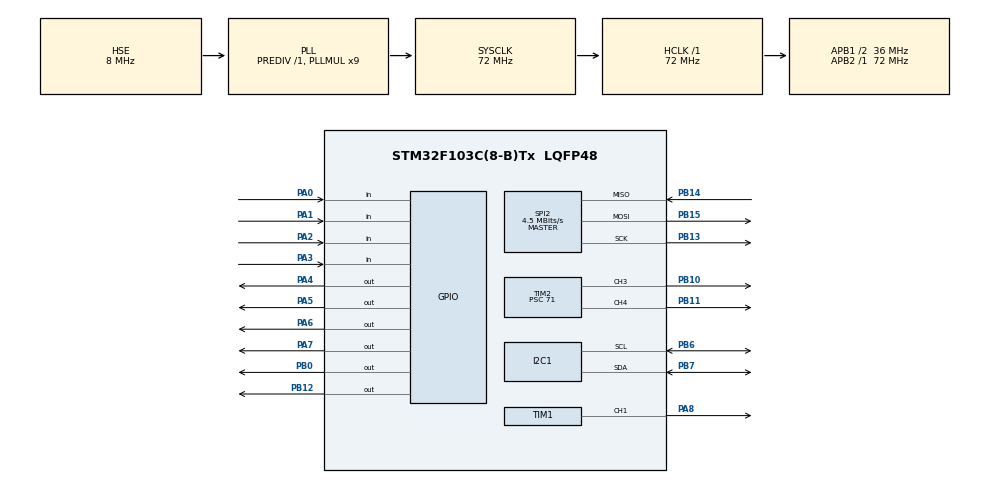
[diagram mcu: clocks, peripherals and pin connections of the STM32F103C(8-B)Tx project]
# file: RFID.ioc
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Mcu.Family=STM32F1
Mcu.Name=STM32F103C(8-B)Tx
Mcu.Package=LQFP48
NVIC.PriorityGroup=NVIC_PRIORITYGROUP_4
PA0-WKUP.GPIO_PuPd=GPIO_PULLDOWN
PA0-WKUP.Signal=GPIO_Input
PA1.GPIO_PuPd=GPIO_PULLDOWN
PA1.Signal=GPIO_Input
PA13.Mode=Serial_Wire
PA13.Signal=SYS_JTMS-SWDIO
PA14.Mode=Serial_Wire
PA14.Signal=SYS_JTCK-SWCLK
PA2.GPIO_PuPd=GPIO_PULLDOWN
PA2.Signal=GPIO_Input
PA3.GPIO_PuPd=GPIO_PULLDOWN
PA3.Signal=GPIO_Input
PA4.Signal=GPIO_Output
PA5.Signal=GPIO_Output
PA6.Signal=GPIO_Output
PA7.Signal=GPIO_Output
PA8.Signal=S_TIM1_CH1
PB0.Signal=GPIO_Output
PB10.Signal=S_TIM2_CH3
PB11.Signal=S_TIM2_CH4
PB12.GPIO_PuPd=GPIO_PULLUP
PB12.PinState=GPIO_PIN_RESET
PB12.Signal=GPIO_Output
PB13.Mode=Full_Duplex_Master
PB13.Signal=SPI2_SCK
PB14.Mode=Full_Duplex_Master
PB14.Signal=SPI2_MISO
PB15.Mode=Full_Duplex_Master
PB15.Signal=SPI2_MOSI
PB6.Mode=I2C
PB6.Signal=I2C1_SCL
PB7.Mode=I2C
PB7.Signal=I2C1_SDA
PD0-OSC_IN.Mode=HSE-External-Oscillator
PD0-OSC_IN.Signal=RCC_OSC_IN
PD1-OSC_OUT.Mode=HSE-External-Oscillator
PD1-OSC_OUT.Signal=RCC_OSC_OUT
ProjectManager.HeapSize=0x200
ProjectManager.StackSize=0x400
ProjectManager.TargetToolchain=STM32CubeIDE
RCC.AHBFreq_Value=72000000
RCC.APB1CLKDivider=RCC_HCLK_DIV2
RCC.APB1Freq_Value=36000000
RCC.APB1TimFreq_Value=72000000
RCC.APB2Freq_Value=72000000
RCC.APB2TimFreq_Value=72000000
RCC.HCLKFreq_Value=72000000
RCC.PLLMUL=RCC_PLL_MUL9
RCC.PLLSourceVirtual=RCC_PLLSOURCE_HSE
RCC.SYSCLKFreq_VALUE=72000000
RCC.SYSCLKSource=RCC_SYSCLKSOURCE_PLLCLK
RCC.USBFreq_Value=72000000
SH.S_TIM1_CH1.0=TIM1_CH1,PWM Generation1 CH1
SH.S_TIM2_CH3.0=TIM2_CH3,PWM Generation3 CH3
SH.S_TIM2_CH4.0=TIM2_CH4,PWM Generation4 CH4
SPI2.BaudRatePrescaler=SPI_BAUDRATEPRESCALER_8
SPI2.CalculateBaudRate=4.5 MBits/s
SPI2.Direction=SPI_DIRECTION_2LINES
SPI2.Mode=SPI_MODE_MASTER
SPI2.VirtualType=VM_MASTER
TIM1.AutoReloadPreload=TIM_AUTORELOAD_PRELOAD_ENABLE
TIM1.Channel-PWM\ Generation1\ CH1=TIM_CHANNEL_1
TIM1.OCIdleState_1=TIM_OCIDLESTATE_SET
TIM1.Prescaler=0
TIM2.AutoReloadPreload=TIM_AUTORELOAD_PRELOAD_ENABLE
TIM2.Channel-PWM\ Generation3\ CH3=TIM_CHANNEL_3
TIM2.Channel-PWM\ Generation4\ CH4=TIM_CHANNEL_4
TIM2.Prescaler=71
VP_TIM1_VS_ClockSourceINT.Mode=Internal
VP_TIM2_VS_ClockSourceINT.Mode=Internal
board=custom

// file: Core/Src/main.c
/* USER CODE BEGIN Header */
/**
  ******************************************************************************
  * @file           : main.c
  * @brief          : Main program body
  ******************************************************************************
  * @attention
  *
  * Copyright (c) 2025 STMicroelectronics.
  * All rights reserved.
  *
  * This software is licensed under terms that can be found in the LICENSE file
  * in the root directory of this software component.
  * If no LICENSE file comes with this software, it is provided AS-IS.
  *
  ******************************************************************************
  */
/* USER CODE END Header */
#include "main.h"

/* USER CODE BEGIN Includes */
#include "KEYPAD.h"
#include "I2C_LCD.h"
#include "string.h"
#include "SERVO.h"
#include "rc522.h"
/* USER CODE END Includes */

/* USER CODE BEGIN PD */
#define MyI2C_LCD I2C_LCD_1
#define SERVO_Motor1    0
#define KEY_1       0
#define KEY_2       1
#define KEY_3       2
#define KEY_F1      3
#define KEY_4       4
#define KEY_5       5
#define KEY_6       6
#define KEY_F2      7
#define KEY_7       8
#define KEY_8       9
#define KEY_9       10
#define KEY_F3      11
#define KEY_A       12
#define KEY_0       13
#define KEY_H       14
#define KEY_F4      15
#define MAX_SLAVE_CARDS 5 // Maximum number of slave cards
/* USER CODE END PD */

I2C_HandleTypeDef hi2c1;

SPI_HandleTypeDef hspi2;

TIM_HandleTypeDef htim1;
TIM_HandleTypeDef htim2;

/* USER CODE BEGIN PV */
uint32_t OctaveFour[7] = {262, 294, 330, 349, 392, 440, 493}; // Ocatve_4 Frequencies (C4->B4)
uint8_t NoteIndex = 0;
uint8_t gu8_KeyStatesArr[KEYS] = {0};
uint8_t SysTicks = 0;
int RightPassword[6]= {2, 4, 0, 8, 2, 0};
int Password[6]={};
int c = 2;
int i = 0;
int k = 0;
int a = 0;
int d = 0;
int b = 0;
// RFID variables
static uchar masterCard[4] = {0xE9, 0x11, 0x0B, 0x01}; // Replace with your master card UID
static uchar slaveCards[MAX_SLAVE_CARDS][4] = {
    {0x62, 0x99, 0x18, 0x02}, // Replace with your slave card UIDs
    {0xE9, 0x11, 0x0B, 0x01}
};
static uint8_t numSlaveCards = 2; // Current number of slave cards
static uint8_t addCardMode = 0; // Flag for add card mode
static uint8_t masterAuthenticated = 0; // Flag for master card authentication
/* USER CODE END PV */

void SystemClock_Config(void);
static void MX_GPIO_Init(void);
static void MX_I2C1_Init(void);
static void MX_TIM1_Init(void);
static void MX_TIM2_Init(void);
static void MX_SPI2_Init(void);
/* USER CODE BEGIN PFP */
static void Tone(uint32_t Frequency, uint32_t Duration);
static void noTone();
static void Password_Check(void);
static void Notifications(void);
static void Set_Password(void);
static void Display_Handler(void);
static uchar CompareUID(uchar *scannedUID, uchar *storedUID);
static uchar IsSlaveCard(uchar *scannedUID);
static void AddSlaveCard(uchar *newUID);
static void RFID_ProcessCard(void);
/* USER CODE END PFP */

/* USER CODE BEGIN 0 */
void Password_Check(void)
{
    if(i == 6){
        for(i = 0; i<6; i++)
        {
            if(Password[i] != RightPassword[i])
            {
                c = 0;
                break;
            } else {
                c = 1;
            }
        }
    }
}

void Notifications(void)
{
    if(c == 1)
    {
        if( b == 0){
            SERVO_MoveTo(SERVO_Motor1, 0);
            SERVO_MoveTo(SERVO_Motor1, 90);
        }
        I2C_LCD_Clear(MyI2C_LCD);
        I2C_LCD_WriteString(MyI2C_LCD,"Welcome");
        Tone(659, 167); // D5
        Tone(587, 167); // E5
        Tone(370, 333); // F#5
        Tone(415, 333); // G5
        Tone(554, 167);
        Tone(494, 167);
        Tone(294, 333);
        Tone(330, 333);
        Tone(494, 167);
        Tone(440, 167);
        Tone(277, 333);
        Tone(330, 333);
        Tone(440, 667);
        noTone();
        if(b==0){
            SERVO_MoveTo(SERVO_Motor1, 0);
        }
        HAL_Delay(1500);
        NoteIndex = 0;
        i=0;
        c=2;
        k=0;
        memset(Password, 0, sizeof(Password));
        if (b == 1){
            d = 1;
        }
        else if (b == 0){}
        main();
    }
    else if (c == 0)
    {
        I2C_LCD_Clear(MyI2C_LCD);
        I2C_LCD_WriteString(MyI2C_LCD, "Sai Mat Khau");
        Tone(OctaveFour[NoteIndex++], 250);
        if(NoteIndex == 5){
            NoteIndex = 0;
        }
        noTone();
        HAL_Delay(1500);
        i=0;
        c=2;
        memset(Password, 0, sizeof(Password));
        k++;
        b = 0;
        if(k == 5)
        {
            I2C_LCD_Clear(MyI2C_LCD);
            I2C_LCD_WriteString(MyI2C_LCD, "Thu Lai Sau 30s");
            k = 0;
            HAL_Delay(10000);
            HAL_Delay(10000);
            HAL_Delay(10000);
            main();
        }
        main();
    }
}

void Set_Password(void)
{
    if(gu8_KeyStatesArr[KEY_1] == KEY_PRESSED)
    {
        I2C_LCD_WriteChar(MyI2C_LCD,'1');
        HAL_Delay(10);
        RightPassword[a] = 1;
        a++;
    }
    if(gu8_KeyStatesArr[KEY_2] == KEY_PRESSED)
    {
        I2C_LCD_WriteChar(MyI2C_LCD,'2');
        HAL_Delay(10);
        RightPassword[a] = 2;
        a++;
    }
    if(gu8_KeyStatesArr[KEY_3] == KEY_PRESSED)
    {
        I2C_LCD_WriteChar(MyI2C_LCD,'3');
        RightPassword[a] = 3;
        a++;
    }
    if(gu8_KeyStatesArr[KEY_4] == KEY_PRESSED)
    {
        I2C_LCD_WriteChar(MyI2C_LCD,'4');
        RightPassword[a] = 4;
        a++;
    }
    if(gu8_KeyStatesArr[KEY_5] == KEY_PRESSED)
    {
        I2C_LCD_WriteChar(MyI2C_LCD,'5');
        RightPassword[a] = 5;
        a++;
    }
    if(gu8_KeyStatesArr[KEY_6] == KEY_PRESSED)
    {
        I2C_LCD_WriteChar(MyI2C_LCD,'6');
        RightPassword[a] = 6;
        a++;
    }
    if(gu8_KeyStatesArr[KEY_7] == KEY_PRESSED)
    {
        I2C_LCD_WriteChar(MyI2C_LCD,'7');
        RightPassword[a] =7;
        a++;
    }
    if(gu8_KeyStatesArr[KEY_8] == KEY_PRESSED)
    {
        I2C_LCD_WriteChar(MyI2C_LCD,'8');
        RightPassword[a] = 8;
        a++;
    }
    if(gu8_KeyStatesArr[KEY_9] == KEY_PRESSED)
    {
        I2C_LCD_WriteChar(MyI2C_LCD,'9');
        RightPassword[a] = 9;
        a++;
    }
    if(gu8_KeyStatesArr[KEY_0] == KEY_PRESSED)
    {
        I2C_LCD_WriteChar(MyI2C_LCD,'0');
        RightPassword[a] = 0;
        a++;
    }
    if(a == 6)
    {
        a = 0;
        d = 0;
        b = 0;
        I2C_LCD_Clear(MyI2C_LCD);
        I2C_LCD_WriteString(MyI2C_LCD,"Doi thanh cong");
        HAL_Delay(1000);
        main();
    }
}

void Display_Handler(void)
{
    if(gu8_KeyStatesArr[KEY_1] == KEY_PRESSED)
    {
        HAL_Delay(100);
        I2C_LCD_WriteChar(MyI2C_LCD,'1');
        Password[i] = 1;
        i++;
    }
    if(gu8_KeyStatesArr[KEY_2] == KEY_PRESSED)
    {
        HAL_Delay(100);
        I2C_LCD_WriteChar(MyI2C_LCD,'2');
        Password[i] = 2;
        i++;
    }
    if(gu8_KeyStatesArr[KEY_3] == KEY_PRESSED)
    {
        HAL_Delay(100);
        I2C_LCD_WriteChar(MyI2C_LCD,'3');
        Password[i] = 3;
        i++;
    }
    if(gu8_KeyStatesArr[KEY_4] == KEY_PRESSED)
    {
        HAL_Delay(100);
        I2C_LCD_WriteChar(MyI2C_LCD,'4');
        Password[i] = 4;
        i++;
    }
    if(gu8_KeyStatesArr[KEY_5] == KEY_PRESSED)
    {
        HAL_Delay(100);
        I2C_LCD_WriteChar(MyI2C_LCD,'5');
        Password [i] = 5;
        i++;
    }
    if(gu8_KeyStatesArr[KEY_6] == KEY_PRESSED)
    {
        HAL_Delay(100);
        I2C_LCD_WriteChar(MyI2C_LCD,'6');
        Password [i] = 6;
        i++;
    }
    if(gu8_KeyStatesArr[KEY_7] == KEY_PRESSED)
    {
        HAL_Delay(100);
        I2C_LCD_WriteChar(MyI2C_LCD,'7');
        Password [i] =7;
        i++;
    }
    if(gu8_KeyStatesArr[KEY_8] == KEY_PRESSED)
    {
        HAL_Delay(100);
        I2C_LCD_WriteChar(MyI2C_LCD,'8');
        Password [i] = 8;
        i++;
    }
    if(gu8_KeyStatesArr[KEY_9] == KEY_PRESSED)
    {
        HAL_Delay(100);
        I2C_LCD_WriteChar(MyI2C_LCD,'9');
        Password [i] = 9;
        i++;
    }
    if(gu8_KeyStatesArr[KEY_0] == KEY_PRESSED)
    {
        HAL_Delay(100);
        I2C_LCD_WriteChar(MyI2C_LCD,'0');
        Password [i] = 0;
        i++;
    }
    if(gu8_KeyStatesArr[KEY_F4] == KEY_PRESSED)
    {
        I2C_LCD_Clear(MyI2C_LCD);
        memset(Password, 0, i*sizeof(Password));
        i = 0;
        b = 0;
        HAL_Delay(100);
        main();
    }
}

static uchar CompareUID(uchar *scannedUID, uchar *storedUID)
{
    for (uchar i = 0; i < 4; i++)
    {
        if (scannedUID[i] != storedUID[i])
        {
            return 0;
        }
    }
    return 1;
}

static uchar IsSlaveCard(uchar *scannedUID)
{
    for (uint8_t i = 0; i < numSlaveCards; i++)
    {
        if (CompareUID(scannedUID, slaveCards[i]))
        {
            return 1;
        }
    }
    return 0;
}

static void AddSlaveCard(uchar *newUID)
{
    if (numSlaveCards < MAX_SLAVE_CARDS)
    {
        for (uint8_t i = 0; i < 4; i++)
        {
            slaveCards[numSlaveCards][i] = newUID[i];
        }
        numSlaveCards++;
        I2C_LCD_Clear(MyI2C_LCD);
        I2C_LCD_WriteString(MyI2C_LCD, "Them Thanh Cong");
        Tone(659, 200); // E5
        Tone(784, 200); // G5
        noTone();
        HAL_Delay(1000);
    }
    else
    {
        I2C_LCD_Clear(MyI2C_LCD);
        I2C_LCD_WriteString(MyI2C_LCD, "Danh Sach Day");
        Tone(392, 500); // G4
        noTone();
        HAL_Delay(1000);
    }
}

static void RFID_ProcessCard(void)
{
    uchar status;
    uchar tagType[2];
    uchar serNum[5];

    if (addCardMode)
    {
        // Step 1: Prompt for master card
        if (!masterAuthenticated)
        {
            I2C_LCD_Clear(MyI2C_LCD);
            I2C_LCD_WriteString(MyI2C_LCD, "Quet Master Card");
            status = MFRC522_Request(PICC_REQIDL, tagType);
            if (status == MI_OK)
            {
                status = MFRC522_Anticoll(serNum);
                if (status == MI_OK)
                {
                    if (CompareUID(serNum, masterCard))
                    {
                        masterAuthenticated = 1;
                        I2C_LCD_Clear(MyI2C_LCD);
                        I2C_LCD_WriteString(MyI2C_LCD, "Quet The Moi");
                        Tone(523, 200); // C5
                        noTone();
                        HAL_Delay(200);
                    }
                    else
                    {
                        I2C_LCD_Clear(MyI2C_LCD);
                        I2C_LCD_WriteString(MyI2C_LCD, "Sai Master Card");
                        Tone(392, 500); // G4
                        noTone();
                        HAL_Delay(1000);
                        I2C_LCD_Clear(MyI2C_LCD);
                        I2C_LCD_WriteString(MyI2C_LCD, "Quet Master Card");
                    }
                    MFRC522_Halt();
                }
            }
        }
        // Step 2: Add new slave card
        else
        {
            status = MFRC522_Request(PICC_REQIDL, tagType);
            if (status == MI_OK)
            {
                status = MFRC522_Anticoll(serNum);
                if (status == MI_OK)
                {
                    // Check if card is not already a slave card
                    if (!IsSlaveCard(serNum) && !CompareUID(serNum, masterCard))
                    {
                        AddSlaveCard(serNum);
                    }
                    else
                    {
                        I2C_LCD_Clear(MyI2C_LCD);
                        I2C_LCD_WriteString(MyI2C_LCD, "The Da Ton Tai");
                        Tone(392, 500); // G4
                        noTone();
                        HAL_Delay(1000);
                    }
                    // Exit add card mode
                    addCardMode = 0;
                    masterAuthenticated = 0;
                    I2C_LCD_Clear(MyI2C_LCD);
                    I2C_LCD_WriteString(MyI2C_LCD, "Nhap mat khau:");
                    I2C_LCD_SetCursor(MyI2C_LCD, 1, 1);
                    MFRC522_Halt();
                }
            }
        }
    }
    else
    {
        // Normal mode: Check for slave cards
        status = MFRC522_Request(PICC_REQIDL, tagType);
        if (status == MI_OK)
        {
            status = MFRC522_Anticoll(serNum);
            if (status == MI_OK)
            {
                if (IsSlaveCard(serNum))
                {
                    I2C_LCD_Clear(MyI2C_LCD);
                    I2C_LCD_WriteString(MyI2C_LCD, "Welcome");
                    SERVO_MoveTo(SERVO_Motor1, 90);
                    Tone(659, 200); // E5
                    Tone(784, 200); // G5
                    noTone();
                    HAL_Delay(1500);
                    SERVO_MoveTo(SERVO_Motor1, 0);
                    I2C_LCD_Clear(MyI2C_LCD);
                    I2C_LCD_WriteString(MyI2C_LCD, "Nhap mat khau:");
                    I2C_LCD_SetCursor(MyI2C_LCD, 1, 1);
                }
                else
                {
                    I2C_LCD_Clear(MyI2C_LCD);
                    I2C_LCD_WriteString(MyI2C_LCD, "Sai The");
                    Tone(392, 500); // G4
                    noTone();
                    HAL_Delay(1000);
                    I2C_LCD_Clear(MyI2C_LCD);
                    I2C_LCD_WriteString(MyI2C_LCD, "Nhap mat khau:");
                    I2C_LCD_SetCursor(MyI2C_LCD, 1, 1);
                }
                MFRC522_Halt();
            }
        }
    }
}

static void Tone(uint32_t Frequency, uint32_t Duration)
{
    TIM2->ARR = (1000000UL / Frequency) - 1; // Set The PWM Frequency
    TIM2->CCR3 = (TIM2->ARR >> 1); // Set Duty Cycle 50%
    HAL_Delay(Duration); // Wait For The Tone Duration
}

static void noTone()
{
    TIM2->CCR3 = 0; // Set Duty Cycle 0%
}
/* USER CODE END 0 */

int main(void)
{

  /* MCU Configuration--------------------------------------------------------*/

  /* Reset of all peripherals, Initializes the Flash interface and the Systick. */
  HAL_Init();

  /* Configure the system clock */
  SystemClock_Config();

  /* Initialize all configured peripherals */
  MX_GPIO_Init();
  MX_I2C1_Init();
  MX_TIM1_Init();
  MX_TIM2_Init();
  MX_SPI2_Init();
  /* USER CODE BEGIN 2 */
    HAL_TIM_PWM_Start(&htim2, TIM_CHANNEL_3);
    HAL_TIM_PWM_Start(&htim1, TIM_CHANNEL_1);
    SERVO_Init(SERVO_Motor1);
    I2C_LCD_Init(MyI2C_LCD);
    I2C_LCD_Clear(MyI2C_LCD);
    I2C_LCD_SetCursor(MyI2C_LCD, 0, 0);
    if (d == 0){
        I2C_LCD_Backlight(MyI2C_LCD);
        I2C_LCD_Display(MyI2C_LCD);
        I2C_LCD_WriteString(MyI2C_LCD, "Nhap mat khau:");
    }
    if (d == 1){
        I2C_LCD_WriteString(MyI2C_LCD, "Mat khau moi:");
    }
    I2C_LCD_SetCursor(MyI2C_LCD, 1, 1);
    KEYPAD_Init(0, gu8_KeyStatesArr);
    MFRC522_Init(); // Initialize RFID module
  /* USER CODE END 2 */

  /* Infinite loop */
  /* USER CODE BEGIN WHILE */
    while (1)
    {
        if(gu8_KeyStatesArr[KEY_F1] == KEY_PRESSED)
        {
            if(gu8_KeyStatesArr[KEY_F2] == KEY_PRESSED){
                b = 1;
                memset(Password, 0, i*sizeof(Password));
                I2C_LCD_Clear(MyI2C_LCD);
                I2C_LCD_WriteString(MyI2C_LCD, "Mat khau cu:");
                I2C_LCD_SetCursor(MyI2C_LCD, 1, 1);
                HAL_Delay(200); // Debounce
            }
        }
        if(gu8_KeyStatesArr[KEY_F3] == KEY_PRESSED)
        {
            addCardMode = 1;
            masterAuthenticated = 0;
            I2C_LCD_Clear(MyI2C_LCD);
            I2C_LCD_WriteString(MyI2C_LCD, "Quet Master Card");
            HAL_Delay(200); // Debounce

        }

        KEYPAD_Scan(0);
        HAL_Delay(10);
        if (d == 0 && !addCardMode){
            Display_Handler();
            HAL_Delay(10);
            Password_Check();
            Notifications();
        }
        if (d == 1)
        {
            Set_Password();
            HAL_Delay(100);
        }
        RFID_ProcessCard(); // Process RFID cards
    /* USER CODE END WHILE */

    }
}

void SystemClock_Config(void)
{
  RCC_OscInitTypeDef RCC_OscInitStruct = {0};
  RCC_ClkInitTypeDef RCC_ClkInitStruct = {0};

  /** Initializes the RCC Oscillators according to the specified parameters
  * in the RCC_OscInitTypeDef structure.
  */
  RCC_OscInitStruct.OscillatorType = RCC_OSCILLATORTYPE_HSE;
  RCC_OscInitStruct.HSEState = RCC_HSE_ON;
  RCC_OscInitStruct.HSEPredivValue = RCC_HSE_PREDIV_DIV1;
  RCC_OscInitStruct.HSIState = RCC_HSI_ON;
  RCC_OscInitStruct.PLL.PLLState = RCC_PLL_ON;
  RCC_OscInitStruct.PLL.PLLSource = RCC_PLLSOURCE_HSE;
  RCC_OscInitStruct.PLL.PLLMUL = RCC_PLL_MUL9;
  if (HAL_RCC_OscConfig(&RCC_OscInitStruct) != HAL_OK)
  {
    Error_Handler();
  }

  /** Initializes the CPU, AHB and APB buses clocks
  */
  RCC_ClkInitStruct.ClockType = RCC_CLOCKTYPE_HCLK|RCC_CLOCKTYPE_SYSCLK
                              |RCC_CLOCKTYPE_PCLK1|RCC_CLOCKTYPE_PCLK2;
  RCC_ClkInitStruct.SYSCLKSource = RCC_SYSCLKSOURCE_PLLCLK;
  RCC_ClkInitStruct.AHBCLKDivider = RCC_SYSCLK_DIV1;
  RCC_ClkInitStruct.APB1CLKDivider = RCC_HCLK_DIV2;
  RCC_ClkInitStruct.APB2CLKDivider = RCC_HCLK_DIV1;

  if (HAL_RCC_ClockConfig(&RCC_ClkInitStruct, FLASH_LATENCY_2) != HAL_OK)
  {
    Error_Handler();
  }
}

static void MX_I2C1_Init(void)
{

  hi2c1.Instance = I2C1;
  hi2c1.Init.ClockSpeed = 100000;
  hi2c1.Init.DutyCycle = I2C_DUTYCYCLE_2;
  hi2c1.Init.OwnAddress1 = 0;
  hi2c1.Init.AddressingMode = I2C_ADDRESSINGMODE_7BIT;
  hi2c1.Init.DualAddressMode = I2C_DUALADDRESS_DISABLE;
  hi2c1.Init.OwnAddress2 = 0;
  hi2c1.Init.GeneralCallMode = I2C_GENERALCALL_DISABLE;
  hi2c1.Init.NoStretchMode = I2C_NOSTRETCH_DISABLE;
  if (HAL_I2C_Init(&hi2c1) != HAL_OK)
  {
    Error_Handler();
  }

}

static void MX_SPI2_Init(void)
{

  /* SPI2 parameter configuration*/
  hspi2.Instance = SPI2;
  hspi2.Init.Mode = SPI_MODE_MASTER;
  hspi2.Init.Direction = SPI_DIRECTION_2LINES;
  hspi2.Init.DataSize = SPI_DATASIZE_8BIT;
  hspi2.Init.CLKPolarity = SPI_POLARITY_LOW;
  hspi2.Init.CLKPhase = SPI_PHASE_1EDGE;
  hspi2.Init.NSS = SPI_NSS_SOFT;
  hspi2.Init.BaudRatePrescaler = SPI_BAUDRATEPRESCALER_8;
  hspi2.Init.FirstBit = SPI_FIRSTBIT_MSB;
  hspi2.Init.TIMode = SPI_TIMODE_DISABLE;
  hspi2.Init.CRCCalculation = SPI_CRCCALCULATION_DISABLE;
  hspi2.Init.CRCPolynomial = 10;
  if (HAL_SPI_Init(&hspi2) != HAL_OK)
  {
    Error_Handler();
  }

}

static void MX_TIM1_Init(void)
{

  TIM_ClockConfigTypeDef sClockSourceConfig = {0};
  TIM_MasterConfigTypeDef sMasterConfig = {0};
  TIM_OC_InitTypeDef sConfigOC = {0};
  TIM_BreakDeadTimeConfigTypeDef sBreakDeadTimeConfig = {0};

  htim1.Instance = TIM1;
  htim1.Init.Prescaler = 0;
  htim1.Init.CounterMode = TIM_COUNTERMODE_UP;
  htim1.Init.Period = 65535;
  htim1.Init.ClockDivision = TIM_CLOCKDIVISION_DIV1;
  htim1.Init.RepetitionCounter = 0;
  htim1.Init.AutoReloadPreload = TIM_AUTORELOAD_PRELOAD_ENABLE;
  if (HAL_TIM_Base_Init(&htim1) != HAL_OK)
  {
    Error_Handler();
  }
  sClockSourceConfig.ClockSource = TIM_CLOCKSOURCE_INTERNAL;
  if (HAL_TIM_ConfigClockSource(&htim1, &sClockSourceConfig) != HAL_OK)
  {
    Error_Handler();
  }
  if (HAL_TIM_PWM_Init(&htim1) != HAL_OK)
  {
    Error_Handler();
  }
  sMasterConfig.MasterOutputTrigger = TIM_TRGO_RESET;
  sMasterConfig.MasterSlaveMode = TIM_MASTERSLAVEMODE_DISABLE;
  if (HAL_TIMEx_MasterConfigSynchronization(&htim1, &sMasterConfig) != HAL_OK)
  {
    Error_Handler();
  }
  sConfigOC.OCMode = TIM_OCMODE_PWM1;
  sConfigOC.Pulse = 0;
  sConfigOC.OCPolarity = TIM_OCPOLARITY_HIGH;
  sConfigOC.OCNPolarity = TIM_OCNPOLARITY_HIGH;
  sConfigOC.OCFastMode = TIM_OCFAST_DISABLE;
  sConfigOC.OCIdleState = TIM_OCIDLESTATE_SET;
  sConfigOC.OCNIdleState = TIM_OCNIDLESTATE_RESET;
  if (HAL_TIM_PWM_ConfigChannel(&htim1, &sConfigOC, TIM_CHANNEL_1) != HAL_OK)
  {
    Error_Handler();
  }
  sBreakDeadTimeConfig.OffStateRunMode = TIM_OSSR_DISABLE;
  sBreakDeadTimeConfig.OffStateIDLEMode = TIM_OSSI_DISABLE;
  sBreakDeadTimeConfig.LockLevel = TIM_LOCKLEVEL_OFF;
  sBreakDeadTimeConfig.DeadTime = 0;
  sBreakDeadTimeConfig.BreakState = TIM_BREAK_DISABLE;
  sBreakDeadTimeConfig.BreakPolarity = TIM_BREAKPOLARITY_HIGH;
  sBreakDeadTimeConfig.AutomaticOutput = TIM_AUTOMATICOUTPUT_DISABLE;
  if (HAL_TIMEx_ConfigBreakDeadTime(&htim1, &sBreakDeadTimeConfig) != HAL_OK)
  {
    Error_Handler();
  }
  HAL_TIM_MspPostInit(&htim1);

}

static void MX_TIM2_Init(void)
{

  TIM_ClockConfigTypeDef sClockSourceConfig = {0};
  TIM_MasterConfigTypeDef sMasterConfig = {0};
  TIM_OC_InitTypeDef sConfigOC = {0};

  htim2.Instance = TIM2;
  htim2.Init.Prescaler = 71;
  htim2.Init.CounterMode = TIM_COUNTERMODE_UP;
  htim2.Init.Period = 65535;
  htim2.Init.ClockDivision = TIM_CLOCKDIVISION_DIV1;
  htim2.Init.AutoReloadPreload = TIM_AUTORELOAD_PRELOAD_ENABLE;
  if (HAL_TIM_Base_Init(&htim2) != HAL_OK)
  {
    Error_Handler();
  }
  sClockSourceConfig.ClockSource = TIM_CLOCKSOURCE_INTERNAL;
  if (HAL_TIM_ConfigClockSource(&htim2, &sClockSourceConfig) != HAL_OK)
  {
    Error_Handler();
  }
  if (HAL_TIM_PWM_Init(&htim2) != HAL_OK)
  {
    Error_Handler();
  }
  sMasterConfig.MasterOutputTrigger = TIM_TRGO_RESET;
  sMasterConfig.MasterSlaveMode = TIM_MASTERSLAVEMODE_DISABLE;
  if (HAL_TIMEx_MasterConfigSynchronization(&htim2, &sMasterConfig) != HAL_OK)
  {
    Error_Handler();
  }
  sConfigOC.OCMode = TIM_OCMODE_PWM1;
  sConfigOC.Pulse = 0;
  sConfigOC.OCPolarity = TIM_OCPOLARITY_HIGH;
  sConfigOC.OCFastMode = TIM_OCFAST_DISABLE;
  if (HAL_TIM_PWM_ConfigChannel(&htim2, &sConfigOC, TIM_CHANNEL_3) != HAL_OK)
  {
    Error_Handler();
  }
  if (HAL_TIM_PWM_ConfigChannel(&htim2, &sConfigOC, TIM_CHANNEL_4) != HAL_OK)
  {
    Error_Handler();
  }
  HAL_TIM_MspPostInit(&htim2);

}

static void MX_GPIO_Init(void)
{
  GPIO_InitTypeDef GPIO_InitStruct = {0};

  /* GPIO Ports Clock Enable */
  __HAL_RCC_GPIOD_CLK_ENABLE();
  __HAL_RCC_GPIOA_CLK_ENABLE();
  __HAL_RCC_GPIOB_CLK_ENABLE();

  /*Configure GPIO pin Output Level */
  HAL_GPIO_WritePin(GPIOA, GPIO_PIN_4|GPIO_PIN_5|GPIO_PIN_6|GPIO_PIN_7, GPIO_PIN_RESET);

  /*Configure GPIO pin Output Level */
  HAL_GPIO_WritePin(GPIOB, GPIO_PIN_0|GPIO_PIN_12, GPIO_PIN_RESET);

  /*Configure GPIO pins : PA0 PA1 PA2 PA3 */
  GPIO_InitStruct.Pin = GPIO_PIN_0|GPIO_PIN_1|GPIO_PIN_2|GPIO_PIN_3;
  GPIO_InitStruct.Mode = GPIO_MODE_INPUT;
  GPIO_InitStruct.Pull = GPIO_PULLDOWN;
  HAL_GPIO_Init(GPIOA, &GPIO_InitStruct);

  /*Configure GPIO pins : PA4 PA5 PA6 PA7 */
  GPIO_InitStruct.Pin = GPIO_PIN_4|GPIO_PIN_5|GPIO_PIN_6|GPIO_PIN_7;
  GPIO_InitStruct.Mode = GPIO_MODE_OUTPUT_PP;
  GPIO_InitStruct.Pull = GPIO_NOPULL;
  GPIO_InitStruct.Speed = GPIO_SPEED_FREQ_LOW;
  HAL_GPIO_Init(GPIOA, &GPIO_InitStruct);

  /*Configure GPIO pin : PB0 */
  GPIO_InitStruct.Pin = GPIO_PIN_0;
  GPIO_InitStruct.Mode = GPIO_MODE_OUTPUT_PP;
  GPIO_InitStruct.Pull = GPIO_NOPULL;
  GPIO_InitStruct.Speed = GPIO_SPEED_FREQ_LOW;
  HAL_GPIO_Init(GPIOB, &GPIO_InitStruct);

  /*Configure GPIO pin : PB12 */
  GPIO_InitStruct.Pin = GPIO_PIN_12;
  GPIO_InitStruct.Mode = GPIO_MODE_OUTPUT_PP;
  GPIO_InitStruct.Pull = GPIO_PULLUP;
  GPIO_InitStruct.Speed = GPIO_SPEED_FREQ_LOW;
  HAL_GPIO_Init(GPIOB, &GPIO_InitStruct);

}

void Error_Handler(void)
{
  __disable_irq();
  while (1)
  {
  }
}
